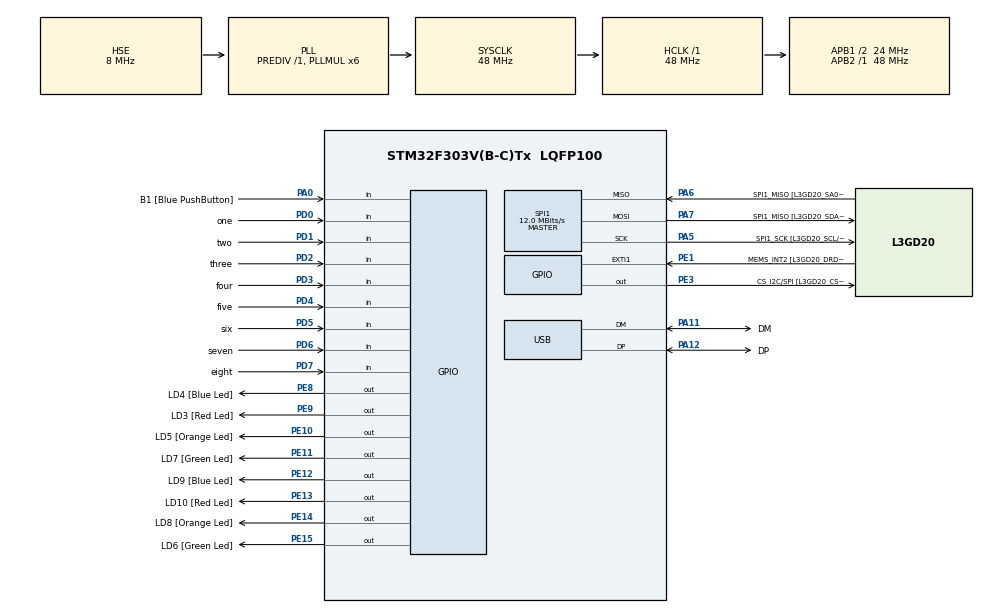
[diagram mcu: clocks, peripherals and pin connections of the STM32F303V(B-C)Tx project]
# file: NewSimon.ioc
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Mcu.Family=STM32F3
Mcu.Name=STM32F303V(B-C)Tx
Mcu.Package=LQFP100
NVIC.PriorityGroup=NVIC_PRIORITYGROUP_0
PA0.GPIO_Label=B1 [Blue PushButton]
PA0.Signal=GPIO_Input
PA11.GPIO_Label=DM
PA11.Mode=Device
PA11.Signal=USB_DM
PA12.GPIO_Label=DP
PA12.Mode=Device
PA12.Signal=USB_DP
PA13.GPIO_Label=SWDIO
PA13.Mode=Serial_Wire
PA13.Signal=SYS_JTMS-SWDIO
PA14.GPIO_Label=SWCLK
PA14.Mode=Serial_Wire
PA14.Signal=SYS_JTCK-SWCLK
PA5.GPIO_Label=SPI1_SCK [L3GD20_SCL/SPC]
PA5.Mode=Full_Duplex_Master
PA5.Signal=SPI1_SCK
PA6.GPIO_Label=SPI1_MISO [L3GD20_SA0/SDO]
PA6.Mode=Full_Duplex_Master
PA6.Signal=SPI1_MISO
PA7.GPIO_Label=SPI1_MISO [L3GD20_SDA/SDI/SDO]
PA7.Mode=Full_Duplex_Master
PA7.Signal=SPI1_MOSI
PC14-OSC32_IN.GPIO_Label=OSC32_IN
PC14-OSC32_IN.Signal=RCC_OSC32_IN
PC15-OSC32_OUT.GPIO_Label=OSC32_OUT
PC15-OSC32_OUT.Signal=RCC_OSC32_OUT
PD0.GPIO_Label=one
PD0.Signal=GPIO_Input
PD1.GPIO_Label=two
PD1.Signal=GPIO_Input
PD2.GPIO_Label=three
PD2.Signal=GPIO_Input
PD3.GPIO_Label=four
PD3.Signal=GPIO_Input
PD4.GPIO_Label=five
PD4.Signal=GPIO_Input
PD5.GPIO_Label=six
PD5.Signal=GPIO_Input
PD6.GPIO_Label=seven
PD6.Signal=GPIO_Input
PD7.GPIO_Label=eight
PD7.GPIO_PuPd=GPIO_NOPULL
PD7.Signal=GPIO_Input
PE1.GPIO_Label=MEMS_INT2 [L3GD20_DRDY/INT2]
PE1.GPIO_ModeDefaultEXTI=GPIO_MODE_EVT_RISING
PE1.Signal=GPXTI1
PE10.GPIO_Label=LD5 [Orange Led]
PE10.Signal=GPIO_Output
PE11.GPIO_Label=LD7 [Green Led]
PE11.Signal=GPIO_Output
PE12.GPIO_Label=LD9 [Blue Led]
PE12.Signal=GPIO_Output
PE13.GPIO_Label=LD10 [Red Led]
PE13.Signal=GPIO_Output
PE14.GPIO_Label=LD8 [Orange Led]
PE14.Signal=GPIO_Output
PE15.GPIO_Label=LD6 [Green Led]
PE15.Signal=GPIO_Output
PE3.GPIO_Label=CS_I2C/SPI [L3GD20_CS_I2C/SPI]
PE3.Signal=GPIO_Output
PE8.GPIO_Label=LD4 [Blue Led]
PE8.Signal=GPIO_Output
PE9.GPIO_Label=LD3 [Red Led]
PE9.Signal=GPIO_Output
PF0-OSC_IN.GPIO_Label=OSC_IN
PF0-OSC_IN.Mode=HSE-External-Oscillator
PF0-OSC_IN.Signal=RCC_OSC_IN
PF1-OSC_OUT.GPIO_Label=OSC_OUT
PF1-OSC_OUT.Mode=HSE-External-Oscillator
PF1-OSC_OUT.Signal=RCC_OSC_OUT
ProjectManager.HeapSize=0x200
ProjectManager.StackSize=0x400
ProjectManager.TargetToolchain=STM32CubeIDE
RCC.AHBFreq_Value=48000000
RCC.APB1CLKDivider=RCC_HCLK_DIV2
RCC.APB1Freq_Value=24000000
RCC.APB1TimFreq_Value=48000000
RCC.APB2Freq_Value=48000000
RCC.APB2TimFreq_Value=48000000
RCC.CortexFreq_Value=48000000
RCC.HCLKFreq_Value=48000000
RCC.HSE_VALUE=8000000
RCC.HSI_VALUE=8000000
RCC.LSE_VALUE=32768
RCC.PLLMUL=RCC_PLL_MUL6
RCC.SYSCLKFreq_VALUE=48000000
RCC.SYSCLKSourceVirtual=RCC_SYSCLKSOURCE_PLLCLK
RCC.USBFreq_Value=48000000
SPI1.BaudRatePrescaler=SPI_BAUDRATEPRESCALER_4
SPI1.BaudRatePrescaler-Full_Duplex_Master=SPI_BAUDRATEPRESCALER_2
SPI1.CalculateBaudRate=12.0 MBits/s
SPI1.CalculateBaudRate-Full_Duplex_Master=24.0 MBits/s
SPI1.Direction=SPI_DIRECTION_2LINES
SPI1.Mode=SPI_MODE_MASTER
SPI1.Mode-Full_Duplex_Master=SPI_MODE_MASTER
SPI1.VirtualType=VM_MASTER
board=STM32F3DISCOVERY

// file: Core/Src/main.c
/* USER CODE BEGIN Header */
/**
  ******************************************************************************
  * @file           : main.c
  * @brief          : Main program body
  ******************************************************************************
  * @attention
  *
  * Copyright (c) 2023 STMicroelectronics.
  * All rights reserved.
  *
  * This software is licensed under terms that can be found in the LICENSE file
  * in the root directory of this software component.
  * If no LICENSE file comes with this software, it is provided AS-IS.
  *
  ******************************************************************************
  */
/* USER CODE END Header */
#include "main.h"

/* USER CODE BEGIN Includes */
#include <stdio.h>
#include <time.h>
#include <stdint.h>
#include <user_functions2.h>
/* USER CODE END Includes */

SPI_HandleTypeDef hspi1;

PCD_HandleTypeDef hpcd_USB_FS;

/* USER CODE BEGIN PV */
uint8_t *led_register = ((uint8_t*)&(GPIOE->ODR)) + 1;

uint8_t Wnum = 0b00000000;
/* USER CODE END PV */

void SystemClock_Config(void);
static void MX_GPIO_Init(void);
static void MX_SPI1_Init(void);
static void MX_USB_PCD_Init(void);
/* USER CODE BEGIN PFP */
void initialise_board();
/* USER CODE END PFP */

int main(void)
{

	/* MCU Configuration--------------------------------------------------------*/

	/* Reset of all peripherals, Initializes the Flash interface and the Systick. */
	HAL_Init();

	/* Configure the system clock */
	SystemClock_Config();

	/* Initialize all configured peripherals */
	MX_GPIO_Init();
	MX_SPI1_Init();
	MX_USB_PCD_Init();
	/* USER CODE BEGIN 2 */
	RCC->AHBENR |= RCC_AHBENR_GPIOEEN | RCC_AHBENR_GPIODEN;
	initialise_board();

	int x;
	/* USER CODE END 2 */

	/* Infinite loop */
	while (1)
	{

	/* USER CODE BEGIN 3 */
	  //***************************************************************************************************************************
	*led_register = 0b00010001;	//indicates that your on the first level
	while (HAL_GPIO_ReadPin(B1_GPIO_Port, B1_Pin) != 1){}	//indicates that your ready to start the level
	x = level1();

	if (x == 1){}
	else
	{
		 while (HAL_GPIO_ReadPin(B1_GPIO_Port, B1_Pin) != 1)	//you've failed, press the Blue button to restart the game when you're ready
		 {
			 *led_register = 0b00110011;		//fail routine
			 HAL_Delay(800);
			 *led_register = 0b01010101;
			 HAL_Delay(800);
		 }
		 continue;		//skips the rest of the while loop and restarts at level 1
	}
	 //**************************************************************************************************************************

	 //*********************************************************************************************************************

	*led_register = 0b00110011;	//indicates that your on the second level
	while (HAL_GPIO_ReadPin(B1_GPIO_Port, B1_Pin) != 1){}
	x = level2();

	if (x == 1){}
	else
	{
		while (HAL_GPIO_ReadPin(B1_GPIO_Port, B1_Pin) != 1)	//press the Blue button to restart the game
		{
			*led_register = 0b00110011;		//fail routine
			HAL_Delay(800);
			*led_register = 0b01010101;
			HAL_Delay(800);
		}
		continue;		//skips the rest of the while loop and restarts at level 1
	}
	 //**********************************************************************************************************

	 //*******************************************************************************************************

	*led_register = 0b01110111;	//indicates that your on the third level
	while (HAL_GPIO_ReadPin(B1_GPIO_Port, B1_Pin) != 1){}
	x = level3();

	if (x == 1){}
	else
	{
		while (HAL_GPIO_ReadPin(B1_GPIO_Port, B1_Pin) != 1)	//press the Blue button to restart the game
		{
			*led_register = 0b00110011;		//fail routine
			HAL_Delay(800);
			*led_register = 0b01010101;
			HAL_Delay(800);
		}
		continue;		//skips the rest of the while loop and restarts at level 1
	}
	 //**************************************************************************************************

	 //****************************************************************************************************

	*led_register = 0b11111111;	//indicates that your on the last level
	x = level4();
	while (HAL_GPIO_ReadPin(B1_GPIO_Port, B1_Pin) != 1){}

	if (x == 1){}
	else
	{
		while (HAL_GPIO_ReadPin(B1_GPIO_Port, B1_Pin) != 1)	//press the Blue button to restart the game
		{
			*led_register = 0b00110011;		//fail routine
			HAL_Delay(800);
			*led_register = 0b01010101;
			HAL_Delay(800);
		}
		continue;		//skips the rest of the while loop and restarts at level 1
	}
	 //*********************************************************************************************

	 //*****************************************************************************************
	for (int i = 0; i < 8; i++)		// flashing indicates that the puzzle is complete
	{
		 *led_register = 0b11111111;		//success routine
		 HAL_Delay(600);
		 *led_register = 0b00000000;
		 HAL_Delay(600);
	}
	//********************************************************************************************

	 break;		//If you complete all levels without failing then the break will stop the while loop
	}
  /* USER CODE END 3 */

}

void SystemClock_Config(void)
{
  RCC_OscInitTypeDef RCC_OscInitStruct = {0};
  RCC_ClkInitTypeDef RCC_ClkInitStruct = {0};
  RCC_PeriphCLKInitTypeDef PeriphClkInit = {0};

  /** Initializes the RCC Oscillators according to the specified parameters
  * in the RCC_OscInitTypeDef structure.
  */
  RCC_OscInitStruct.OscillatorType = RCC_OSCILLATORTYPE_HSE;
  RCC_OscInitStruct.HSEState = RCC_HSE_ON;
  RCC_OscInitStruct.HSEPredivValue = RCC_HSE_PREDIV_DIV1;
  RCC_OscInitStruct.HSIState = RCC_HSI_ON;
  RCC_OscInitStruct.PLL.PLLState = RCC_PLL_ON;
  RCC_OscInitStruct.PLL.PLLSource = RCC_PLLSOURCE_HSE;
  RCC_OscInitStruct.PLL.PLLMUL = RCC_PLL_MUL6;
  if (HAL_RCC_OscConfig(&RCC_OscInitStruct) != HAL_OK)
  {
    Error_Handler();
  }

  /** Initializes the CPU, AHB and APB buses clocks
  */
  RCC_ClkInitStruct.ClockType = RCC_CLOCKTYPE_HCLK|RCC_CLOCKTYPE_SYSCLK
                              |RCC_CLOCKTYPE_PCLK1|RCC_CLOCKTYPE_PCLK2;
  RCC_ClkInitStruct.SYSCLKSource = RCC_SYSCLKSOURCE_PLLCLK;
  RCC_ClkInitStruct.AHBCLKDivider = RCC_SYSCLK_DIV1;
  RCC_ClkInitStruct.APB1CLKDivider = RCC_HCLK_DIV2;
  RCC_ClkInitStruct.APB2CLKDivider = RCC_HCLK_DIV1;

  if (HAL_RCC_ClockConfig(&RCC_ClkInitStruct, FLASH_LATENCY_1) != HAL_OK)
  {
    Error_Handler();
  }
  PeriphClkInit.PeriphClockSelection = RCC_PERIPHCLK_USB;
  PeriphClkInit.USBClockSelection = RCC_USBCLKSOURCE_PLL;
  if (HAL_RCCEx_PeriphCLKConfig(&PeriphClkInit) != HAL_OK)
  {
    Error_Handler();
  }
}

static void MX_SPI1_Init(void)
{

  /* SPI1 parameter configuration*/
  hspi1.Instance = SPI1;
  hspi1.Init.Mode = SPI_MODE_MASTER;
  hspi1.Init.Direction = SPI_DIRECTION_2LINES;
  hspi1.Init.DataSize = SPI_DATASIZE_4BIT;
  hspi1.Init.CLKPolarity = SPI_POLARITY_LOW;
  hspi1.Init.CLKPhase = SPI_PHASE_1EDGE;
  hspi1.Init.NSS = SPI_NSS_SOFT;
  hspi1.Init.BaudRatePrescaler = SPI_BAUDRATEPRESCALER_4;
  hspi1.Init.FirstBit = SPI_FIRSTBIT_MSB;
  hspi1.Init.TIMode = SPI_TIMODE_DISABLE;
  hspi1.Init.CRCCalculation = SPI_CRCCALCULATION_DISABLE;
  hspi1.Init.CRCPolynomial = 7;
  hspi1.Init.CRCLength = SPI_CRC_LENGTH_DATASIZE;
  hspi1.Init.NSSPMode = SPI_NSS_PULSE_ENABLE;
  if (HAL_SPI_Init(&hspi1) != HAL_OK)
  {
    Error_Handler();
  }

}

static void MX_USB_PCD_Init(void)
{

  hpcd_USB_FS.Instance = USB;
  hpcd_USB_FS.Init.dev_endpoints = 8;
  hpcd_USB_FS.Init.speed = PCD_SPEED_FULL;
  hpcd_USB_FS.Init.phy_itface = PCD_PHY_EMBEDDED;
  hpcd_USB_FS.Init.low_power_enable = DISABLE;
  hpcd_USB_FS.Init.battery_charging_enable = DISABLE;
  if (HAL_PCD_Init(&hpcd_USB_FS) != HAL_OK)
  {
    Error_Handler();
  }

}

static void MX_GPIO_Init(void)
{
  GPIO_InitTypeDef GPIO_InitStruct = {0};

  /* GPIO Ports Clock Enable */
  __HAL_RCC_GPIOE_CLK_ENABLE();
  __HAL_RCC_GPIOC_CLK_ENABLE();
  __HAL_RCC_GPIOF_CLK_ENABLE();
  __HAL_RCC_GPIOA_CLK_ENABLE();
  __HAL_RCC_GPIOD_CLK_ENABLE();

  /*Configure GPIO pin Output Level */
  HAL_GPIO_WritePin(GPIOE, CS_I2C_SPI_Pin|LD4_Pin|LD3_Pin|LD5_Pin
                          |LD7_Pin|LD9_Pin|LD10_Pin|LD8_Pin
                          |LD6_Pin, GPIO_PIN_RESET);

  /*Configure GPIO pins : CS_I2C_SPI_Pin LD4_Pin LD3_Pin LD5_Pin
                           LD7_Pin LD9_Pin LD10_Pin LD8_Pin
                           LD6_Pin */
  GPIO_InitStruct.Pin = CS_I2C_SPI_Pin|LD4_Pin|LD3_Pin|LD5_Pin
                          |LD7_Pin|LD9_Pin|LD10_Pin|LD8_Pin
                          |LD6_Pin;
  GPIO_InitStruct.Mode = GPIO_MODE_OUTPUT_PP;
  GPIO_InitStruct.Pull = GPIO_NOPULL;
  GPIO_InitStruct.Speed = GPIO_SPEED_FREQ_HIGH;
  HAL_GPIO_Init(GPIOE, &GPIO_InitStruct);

  /*Configure GPIO pin : B1_Pin */
  GPIO_InitStruct.Pin = B1_Pin;
  GPIO_InitStruct.Mode = GPIO_MODE_INPUT;
  GPIO_InitStruct.Pull = GPIO_NOPULL;
  HAL_GPIO_Init(B1_GPIO_Port, &GPIO_InitStruct);

  /*Configure GPIO pins : one_Pin two_Pin three_Pin four_Pin
                           five_Pin six_Pin seven_Pin eight_Pin */
  GPIO_InitStruct.Pin = one_Pin|two_Pin|three_Pin|four_Pin
                          |five_Pin|six_Pin|seven_Pin|eight_Pin;
  GPIO_InitStruct.Mode = GPIO_MODE_INPUT;
  GPIO_InitStruct.Pull = GPIO_NOPULL;
  HAL_GPIO_Init(GPIOD, &GPIO_InitStruct);

  /*Configure GPIO pin : MEMS_INT2_Pin */
  GPIO_InitStruct.Pin = MEMS_INT2_Pin;
  GPIO_InitStruct.Mode = GPIO_MODE_EVT_RISING;
  GPIO_InitStruct.Pull = GPIO_NOPULL;
  HAL_GPIO_Init(MEMS_INT2_GPIO_Port, &GPIO_InitStruct);

}

/* USER CODE BEGIN 4 */
void initialise_board() {
	// get a pointer to the second half word of the MODER register (for outputs pe8-15)
	uint16_t *led_output_registers = ((uint16_t *)&(GPIOE->MODER)) + 1;
	*led_output_registers = 0x5555;
}

/* USER CODE END 4 */

void Error_Handler(void)
{
  __disable_irq();
  while (1)
  {
  }
}
